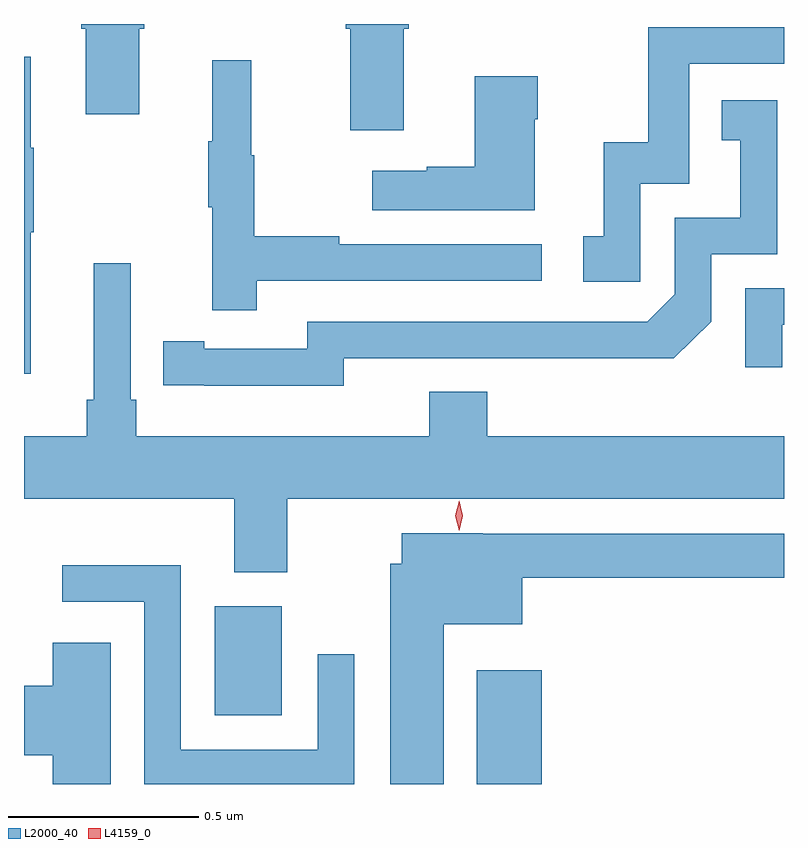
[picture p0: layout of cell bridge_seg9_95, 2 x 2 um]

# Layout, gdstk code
import gdstk
lib = gdstk.Library(unit=1e-6, precision=1e-09)
def R(c, l, rs):  # rectangles x0, y0, x1, y1
    for r in rs: c.add(gdstk.rectangle(r[:2], r[2:], *l))
def P(c, l, *ps):  # polygons
    for p in ps: c.add(gdstk.Polygon(p, *l))
L2000_40 = (2000, 40)
L4159_0 = (4159, 0)

bridge_seg9_95 = lib.new_cell('bridge_seg9_95')
R(bridge_seg9_95, L2000_40, [(660.188,1195.669,660.359,1195.969), (659.498,1195.85,659.674,1196.137)])
P(bridge_seg9_95, L2000_40, [(659.299,1197.656),(659.312,1197.656),(659.312,1197.669),(659.147,1197.669),(659.147,1197.656),(659.159,1197.656),(659.159,1197.432),(659.299,1197.432)],
  [(659.995,1197.656),(660.008,1197.656),(660.008,1197.669),(659.843,1197.669),(659.843,1197.656),(659.855,1197.656),(659.855,1197.39),(659.995,1197.39)],
  [(660.618,1197.249),(660.747,1197.249),(660.747,1197.564),(660.996,1197.564),(660.996,1197.66),(660.639,1197.66),(660.639,1197.358),(660.521,1197.358),(660.521,1197.111),(660.468,1197.111),(660.468,1196.991),(660.618,1196.991)],
  [(659.014,1197.121),(659.022,1197.121),(659.022,1197.344),(659.014,1197.344),(659.014,1197.583),(658.996,1197.583),(658.996,1196.748),(659.014,1196.748)],
  [(659.609,1196.994),(660.358,1196.994),(660.358,1197.09),(659.825,1197.09),(659.825,1197.11),(659.602,1197.11),(659.602,1197.324),(659.594,1197.324),(659.594,1197.574),(659.492,1197.574),(659.492,1197.361),(659.481,1197.361),(659.481,1197.187),(659.492,1197.187),(659.492,1196.916),(659.609,1196.916)],
  [(660.34,1197.419),(660.348,1197.419),(660.348,1197.532),(660.182,1197.532),(660.182,1197.293),(660.056,1197.293),(660.056,1197.283),(659.913,1197.283),(659.913,1197.179),(660.34,1197.179)],
  [(659.838,1196.79),(660.298,1196.79),(660.298,1196.789),(660.706,1196.789),(660.804,1196.886),(660.804,1197.063),(660.978,1197.063),(660.978,1197.469),(660.832,1197.469),(660.832,1197.363),(660.881,1197.363),(660.881,1197.159),(660.708,1197.159),(660.708,1196.958),(660.636,1196.886),(659.742,1196.886),(659.742,1196.814),(659.47,1196.814),(659.47,1196.834),(659.362,1196.834),(659.362,1196.718),(659.47,1196.718),(659.47,1196.717),(659.838,1196.717)],
  [(659.291,1196.68),(659.277,1196.68),(659.277,1197.04),(659.18,1197.04),(659.18,1196.68),(659.161,1196.68),(659.161,1196.584),(658.996,1196.584),(658.996,1196.42),(659.549,1196.42),(659.549,1196.226),(659.689,1196.226),(659.689,1196.42),(660.996,1196.42),(660.996,1196.584),(660.215,1196.584),(660.215,1196.701),(660.062,1196.701),(660.062,1196.584),(659.291,1196.584)],
  [(660.991,1196.877),(660.996,1196.877),(660.996,1196.973),(660.894,1196.973),(660.894,1196.766),(660.991,1196.766)],
  [(660.1,1196.09),(660.307,1196.09),(660.307,1196.212),(660.996,1196.212),(660.996,1196.328),(660.203,1196.328),(660.203,1196.329),(659.99,1196.329),(659.99,1196.248),(659.96,1196.248),(659.96,1195.669),(660.1,1195.669)],
  [(659.865,1196.011),(659.769,1196.011),(659.769,1195.759),(659.409,1195.759),(659.409,1196.245),(659.097,1196.245),(659.097,1196.148),(659.313,1196.148),(659.313,1195.669),(659.865,1195.669)],
  [(659.224,1196.041),(659.072,1196.041),(659.072,1195.928),(658.996,1195.928),(658.996,1195.745),(659.072,1195.745),(659.072,1195.669),(659.224,1195.669)])
P(bridge_seg9_95, L4159_0, [(660.141,1196.335),(660.141,1196.336),(660.131,1196.375),(660.141,1196.415),(660.141,1196.415),(660.141,1196.415),(660.151,1196.375),(660.141,1196.336)])

lib.write_gds('bridge_seg9_95.gds')
